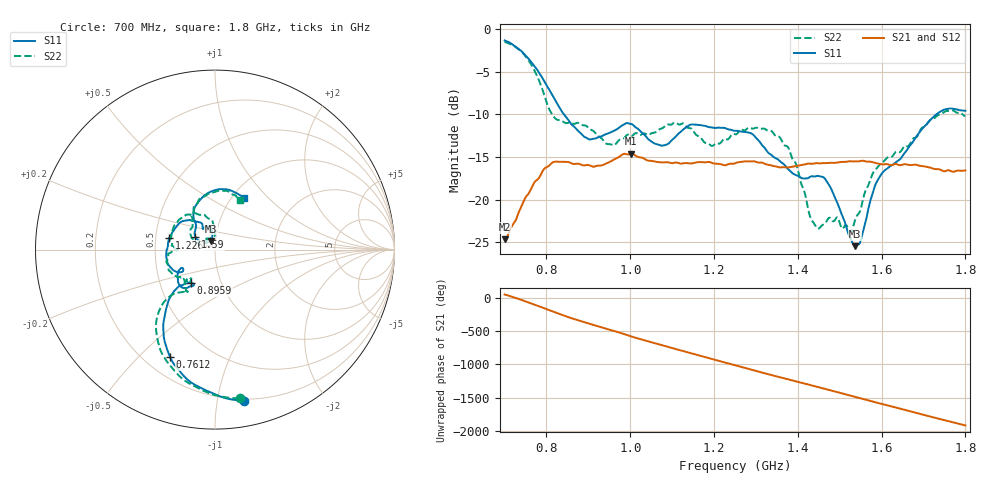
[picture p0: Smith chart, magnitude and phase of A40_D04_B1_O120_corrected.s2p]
! Created with skrf 1.9.0 (http://scikit-rf.org).
# Hz S RI R 50.0
!freq ReS11 ImS11 ReS21 ImS21 ReS12 ImS12 ReS22 ImS22
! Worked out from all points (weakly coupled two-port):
!   1601 points, 700 MHz to 1.8 GHz, reference 50 ohm
!   highest |S21| = -14.62 dB at 1.002 GHz (marker M1); lowest = -24.7 dB at 700 MHz (marker M2)
!   lowest |S11| = -25.5 dB at 1.537 GHz (marker M3), VSWR 1.11, Z = 47.4 + j4.52 ohm
!   |S11| at or under -10 dB: 841.3 MHz to 1.731 GHz (889.6 MHz wide, 69.2 % of centre)
!   |S22| runs from -23.9 to -1.5 dB; largest |S21 - S12| = 0.0033
!   S11 on the Smith chart (normalised r, x): 700 MHz: 0.19, -1.20; 761.2 MHz: 0.30, -0.62; 895.9 MHz: 0.72, -0.28; 1.226 GHz: 0.59, +0.08; 1.59 GHz: 0.80, +0.11; 1.8 GHz: 1.13, +0.74
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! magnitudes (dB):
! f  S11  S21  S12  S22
! 700 MHz  -1.3  -24.7  -24.5  -1.5
! 761.2 MHz  -3.7  -19.0  -18.9  -4.0
! 818.2 MHz  -8.1  -15.6  -15.7  -10.3
! 883.6 MHz  -12.3  -15.9  -15.8  -11.2
! 895.9 MHz  -12.8  -15.9  -16.0  -11.4
! 946.8 MHz  -12.3  -15.7  -15.7  -13.5
! 1.002 GHz  -11.1  -14.6  -14.7  -12.6
! 1.067 GHz  -13.6  -15.6  -15.6  -11.9
! 1.145 GHz  -11.2  -15.8  -15.8  -11.7
! 1.226 GHz  -11.6  -16.0  -15.9  -12.9
! 1.25 GHz  -11.9  -15.8  -15.7  -12.4
! 1.357 GHz  -15.5  -16.2  -16.2  -12.7
! 1.396 GHz  -17.1  -16.1  -16.1  -15.9
! 1.434 GHz  -17.3  -15.8  -15.8  -22.5
! 1.471 GHz  -18.1  -15.7  -15.7  -22.3
! 1.526 GHz  -24.6  -15.5  -15.5  -23.9
! 1.537 GHz  -25.5  -15.5  -15.5  -22.4
! 1.55 GHz  -24.7  -15.5  -15.5  -21.1
! 1.59 GHz  -17.8  -15.8  -15.8  -16.2
! 1.617 GHz  -16.2  -15.9  -15.9  -15.0
! 1.733 GHz  -9.9  -16.4  -16.5  -10.1
! 1.8 GHz  -9.6  -16.6  -16.6  -10.2
